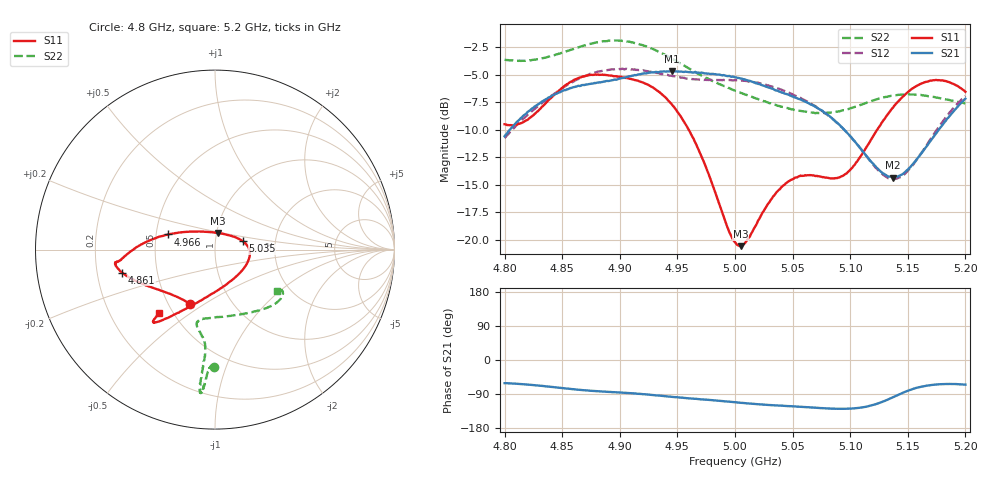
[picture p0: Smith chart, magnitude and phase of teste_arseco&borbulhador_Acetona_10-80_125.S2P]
! Network Analyzer HP8722D
! Hewlett-Packard
! Data name: Linha & Wilkinson
! Saver's name: Rodrigo Anjos
! Comments: Teste da utilização de aquisição
! continua pelo VNA HP8722D
! Time and date: 17/4/2025 15:24
!  Frequency  S11  S21  S12  S22
# HZ  S  MA R 50
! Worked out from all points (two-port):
!   401 points, 4.8 GHz to 5.2 GHz, reference 50 ohm
!   highest |S21| = -4.70 dB at 4.945 GHz (marker M1); lowest = -14.3 dB at 5.137 GHz (marker M2)
!   |S21| within 3 dB of the highest: 4.829 GHz to 5.065 GHz (236.3 MHz wide, 4.78 % of centre); 5.195054 GHz to end of sweep
!   lowest |S11| = -20.6 dB at 5.005 GHz (marker M3), VSWR 1.21, Z = 50.8 + j9.43 ohm
!   |S11| at or under -10 dB: 4.96 GHz to 5.124 GHz (163.7 MHz wide, 3.25 % of centre)
!   |S22| runs from -8.5 to -1.9 dB; largest |S21 - S12| = 0.88
!   S11 on the Smith chart (normalised r, x): 4.8 GHz: 0.64, -0.44; 4.861 GHz: 0.31, -0.11; 4.966 GHz: 0.58, +0.11; 5.035 GHz: 1.36, +0.13; 5.2 GHz: 0.42, -0.38
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4.8e9  0.3345 -114.1  0.2951 -61.2  0.2892 -175.3  0.6564 -90.4
4.819e9  0.349 -134.2  0.3748 -64.5  0.3646 -174.3  0.6516 -92.1
4.861e9  0.5349 -166.1  0.4947 -77.5  0.528 -177.4  0.7387 -94.3
4.867e9  0.5491 -168.6  0.5038 -79.4  0.5465 -178.6  0.7564 -94.4
4.899e9  0.5501 -172.9  0.5379 -85.7  0.5944 174.9  0.8024 -95.8
4.934e9  0.4695 -178.8  0.5773 -94.0  0.5706 171.3  0.713 -96.2
4.945e9  0.4129 176.0  0.5821 -97.2  0.5554 171.6  0.6659 -95.9
4.966e9  0.2733 162.0  0.5752 -102.4  0.5347 173.2  0.5754 -95.4
5e9  0.09744 98.1  0.5466 -111.5  0.5308 175.7  0.4755 -99.7
5.005e9  0.09345 79.7  0.5395 -113.0  0.5268 175.8  0.4641 -100.6
5.011e9  0.1002 59.6  0.5294 -114.5  0.525 175.5  0.4528 -101.9
5.035e9  0.1612 16.9  0.4772 -119.6  0.4912 174.3  0.4099 -103.3
5.05e9  0.1881 2.0  0.4479 -122.4  0.4574 173.6  0.3912 -99.3
5.067e9  0.1961 -16.2  0.4091 -125.3  0.4113 173.2  0.3781 -90.2
5.085e9  0.1901 -44.5  0.3526 -128.5  0.3533 173.3  0.3799 -76.5
5.097e9  0.2001 -68.8  0.307 -128.6  0.3073 174.6  0.3905 -66.7
5.123e9  0.3135 -108.8  0.2121 -115.8  0.2104 -170.3  0.4342 -48.5
5.134e9  0.3796 -117.7  0.1936 -102.5  0.1898 -155.5  0.4487 -43.0
5.137e9  0.3972 -119.4  0.1917 -98.5  0.1886 -150.7  0.4515 -41.7
5.15e9  0.4677 -125.2  0.2082 -81.4  0.2054 -130.9  0.4573 -36.9
5.17e9  0.5281 -129.7  0.2822 -66.1  0.2878 -112.3  0.447 -32.2
5.2e9  0.47 -131.2  0.4371 -65.0  0.4497 -107.1  0.4158 -33.8
